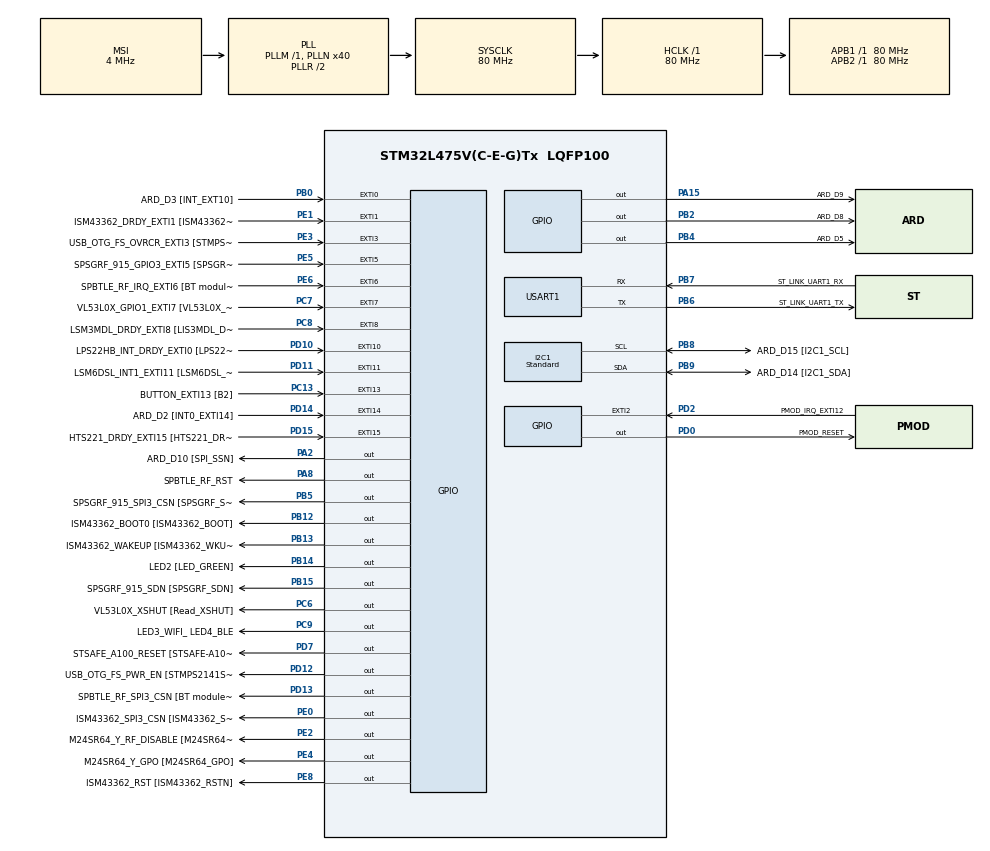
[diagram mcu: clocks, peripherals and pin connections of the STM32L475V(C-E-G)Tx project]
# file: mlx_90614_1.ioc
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I2C1.I2C_Speed_Mode=I2C_Standard
I2C1.Timing=0x10D19CE4
Mcu.Family=STM32L4
Mcu.Name=STM32L475V(C-E-G)Tx
Mcu.Package=LQFP100
NVIC.EXTI15_10_IRQn=true\:0\:0\:false\:false\:true\:true\:true\:true
NVIC.EXTI9_5_IRQn=true\:0\:0\:false\:false\:true\:true\:true\:true
NVIC.PriorityGroup=NVIC_PRIORITYGROUP_4
PA0.GPIO_Label=ARD_D1 [UART4_TX]
PA0.Signal=UART4_TX
PA1.GPIO_Label=ARD_D0 [UART4_RX]
PA1.Signal=UART4_RX
PA10.GPIO_Label=USB_OTG_FS_ID
PA10.Signal=USB_OTG_FS_ID
PA11.GPIO_Label=USB_OTG_FS_DM
PA11.Signal=USB_OTG_FS_DM
PA12.GPIO_Label=USB_OTG_FS_DP
PA12.Signal=USB_OTG_FS_DP
PA13\ (JTMS-SWDIO).GPIO_Label=SYS_JTMS_SWDIO
PA13\ (JTMS-SWDIO).Signal=SYS_JTMS-SWDIO
PA14\ (JTCK-SWCLK).GPIO_Label=SYS_JTCK_SWCLK
PA14\ (JTCK-SWCLK).Signal=SYS_JTCK-SWCLK
PA15\ (JTDI).GPIO_Label=ARD_D9
PA15\ (JTDI).Signal=GPIO_Output
PA2.GPIO_Label=ARD_D10 [SPI_SSN]
PA2.Signal=GPIO_Output
PA3.GPIO_Label=ARD_D4
PA3.Signal=S_TIM2_CH4
PA4.GPIO_Label=ARD_D7
PA4.Signal=ADCx_IN9
PA5.GPIO_Label=ARD_D13 [SPI1_SCK]
PA5.Signal=SPI1_SCK
PA6.GPIO_Label=ARD_D12 [SPI1_MISO]
PA6.Signal=SPI1_MISO
PA7.GPIO_Label=ARD_D11 [SPI1_MOSI]
PA7.Signal=SPI1_MOSI
PA8.GPIO_Label=SPBTLE_RF_RST
PA8.Signal=GPIO_Output
PA9.GPIO_Label=USB_OTG_FS_VBUS [STMPS2141STR_OUT]
PA9.Signal=USB_OTG_FS_VBUS
PB0.GPIO_Label=ARD_D3 [INT_EXT10]
PB0.Signal=GPXTI0
PB1.GPIO_Label=ARD_D6 [ADC1_IN6]
PB1.Signal=ADCx_IN16
PB10.GPIO_Label=INTERNAL_I2C2_SCL [VL53L0X_SCL]
PB10.Signal=I2C2_SCL
PB11.GPIO_Label=INTERNAL_I2C2_SDA [VL53L0X_SDA]
PB11.Signal=I2C2_SDA
PB12.GPIO_Label=ISM43362_BOOT0 [ISM43362_BOOT]
PB12.Signal=GPIO_Output
PB13.GPIO_Label=ISM43362_WAKEUP [ISM43362_WKUP]
PB13.Signal=GPIO_Output
PB14.GPIO_Label=LED2 [LED_GREEN]
PB14.Signal=GPIO_Output
PB15.GPIO_Label=SPSGRF_915_SDN [SPSGRF_SDN]
PB15.Signal=GPIO_Output
PB2.GPIO_Label=ARD_D8
PB2.Signal=GPIO_Output
PB3\ (JTDO-TRACESWO).GPIO_Label=SYS_JTD0_SWO
PB3\ (JTDO-TRACESWO).Signal=SYS_JTDO-SWO
PB4\ (NJTRST).GPIO_Label=ARD_D5
PB4\ (NJTRST).Signal=GPIO_Output
PB5.GPIO_Label=SPSGRF_915_SPI3_CSN [SPSGRF_SPI_CS]
PB5.PinState=GPIO_PIN_SET
PB5.Signal=GPIO_Output
PB6.GPIO_Label=ST_LINK_UART1_TX
PB6.Mode=Asynchronous
PB6.Signal=USART1_TX
PB7.GPIO_Label=ST_LINK_UART1_RX
PB7.Mode=Asynchronous
PB7.Signal=USART1_RX
PB8.GPIO_Label=ARD_D15 [I2C1_SCL]
PB8.Mode=I2C
PB8.Signal=I2C1_SCL
PB9.GPIO_Label=ARD_D14 [I2C1_SDA]
PB9.Mode=I2C
PB9.Signal=I2C1_SDA
PC0.GPIO_Label=ARD_A5 [ADC]
PC0.Signal=ADCx_IN1
PC1.GPIO_Label=ARD_A4 [ADC]
PC1.Signal=ADCx_IN2
PC10.GPIO_Label=INTERNAL_SPI3_SCK [BT module_SPI_SCLK] [ISM43362_SCK]
PC10.Signal=SPI3_SCK
PC11.GPIO_Label=INTERNAL_SPI3_MISO [BT module_SPI_MISO] [ISM43362_MISO]
PC11.Signal=SPI3_MISO
PC12.GPIO_Label=INTERNAL_SPI3_MOSI [BT module_SPI_MOSI] [ISM43362_MOSI]
PC12.Signal=SPI3_MOSI
PC13.GPIO_Label=BUTTON_EXTI13 [B2]
PC13.GPIO_ModeDefaultEXTI=GPIO_MODE_IT_FALLING
PC13.Signal=GPXTI13
PC14-OSC32_IN\ (PC14).Signal=RCC_OSC32_IN
PC15-OSC32_OUT\ (PC15).Signal=RCC_OSC32_OUT
PC2.GPIO_Label=ARD_A3 [ADC]
PC2.Signal=ADCx_IN3
PC3.GPIO_Label=ARD_A2 [ADC]
PC3.Signal=ADCx_IN4
PC4.GPIO_Label=ARD_A1 [ADC]
PC4.Signal=ADCx_IN13
PC5.GPIO_Label=ARD_A0 [ADC]
PC5.Signal=ADCx_IN14
PC6.GPIO_Label=VL53L0X_XSHUT [Read_XSHUT]
PC6.Signal=GPIO_Output
PC7.GPIO_Label=VL53L0X_GPIO1_EXTI7 [VL53L0X_GPIO1]
PC7.Signal=GPXTI7
PC8.GPIO_Label=LSM3MDL_DRDY_EXTI8 [LIS3MDL_DRDY]
PC8.Signal=GPXTI8
PC9.GPIO_Label=LED3_WIFI_ LED4_BLE
PC9.Signal=GPIO_Output
PD0.GPIO_Label=PMOD_RESET
PD0.Signal=GPIO_Output
PD1.GPIO_Label=PMOD_SPI2_SCK
PD1.Signal=SPI2_SCK
PD10.GPIO_Label=LPS22HB_INT_DRDY_EXTI0 [LPS22HB_INT_DRDY] 
PD10.Signal=GPXTI10
PD11.GPIO_Label=LSM6DSL_INT1_EXTI11 [LSM6DSL_INT1]
PD11.Signal=GPXTI11
PD12.GPIO_Label=USB_OTG_FS_PWR_EN [STMPS2141STR_EN]
PD12.Signal=GPIO_Output
PD13.GPIO_Label=SPBTLE_RF_SPI3_CSN [BT module_SPI_CS]
PD13.PinState=GPIO_PIN_SET
PD13.Signal=GPIO_Output
PD14.GPIO_Label=ARD_D2 [INT0_EXTI14]
PD14.Signal=GPXTI14
PD15.GPIO_Label=HTS221_DRDY_EXTI15 [HTS221_DRDY]
PD15.Signal=GPXTI15
PD2.GPIO_Label=PMOD_IRQ_EXTI12
PD2.Signal=GPXTI2
PD3.GPIO_Label=PMOD_UART2_CTS
PD3.Signal=USART2_CTS
PD4.GPIO_Label=PMOD_UART2_RTS
PD4.Signal=USART2_RTS
PD5.GPIO_Label=PMOD_UART2_TX
PD5.Signal=USART2_TX
PD6.GPIO_Label=PMOD_UART2_RX
PD6.Signal=USART2_RX
PD7.GPIO_Label=STSAFE_A100_RESET [STSAFE-A100_RESET]
PD7.Signal=GPIO_Output
PD8.GPIO_Label=INTERNAL_UART3_TX [ISM43362_RX]
PD8.Signal=USART3_TX
PD9.GPIO_Label=INTERNAL_UART3_RX [ISM43362_TX]
PD9.Signal=USART3_RX
PE0.GPIO_Label=ISM43362_SPI3_CSN [ISM43362_SSN]
PE0.PinState=GPIO_PIN_SET
PE0.Signal=GPIO_Output
PE1.GPIO_Label=ISM43362_DRDY_EXTI1 [ISM43362_DATARDY]
PE1.Signal=GPXTI1
PE10.GPIO_Label=QUADSPI_CLK [MX25R6435F_SCLK]
PE10.Signal=QUADSPI_CLK
PE11.GPIO_Label=QUADSPI_NCS [MX25R6435F_SCLK]
PE11.Signal=QUADSPI_NCS
PE12.GPIO_Label=OQUADSPI_BK1_IO0 [MX25R6435F_IO0]
PE12.Signal=QUADSPI_BK1_IO0
PE13.GPIO_Label=QUADSPI_BK1_IO1 [MX25R6435F_IO1]
PE13.Signal=QUADSPI_BK1_IO1
PE14.GPIO_Label=QUAD_SPI_BK1_IO2 [MX25R6435F_IO2]
PE14.Signal=QUADSPI_BK1_IO2
PE15.GPIO_Label=QUAD_SPI_BK1_IO3 [MX25R6435F_IO3]
PE15.Signal=QUADSPI_BK1_IO3
PE2.GPIO_Label=M24SR64_Y_RF_DISABLE [M24SR64_RFDIS]
PE2.Signal=GPIO_Output
PE3.GPIO_Label=USB_OTG_FS_OVRCR_EXTI3 [STMPS2141STR_FAULT]
PE3.Signal=GPXTI3
PE4.GPIO_Label=M24SR64_Y_GPO [M24SR64_GPO]
PE4.Signal=GPIO_Output
PE5.GPIO_Label=SPSGRF_915_GPIO3_EXTI5 [SPSGRF_GPIO_3]
PE5.Signal=GPXTI5
PE6.GPIO_Label=SPBTLE_RF_IRQ_EXTI6 [BT module_SPI_IRQ]
PE6.Signal=GPXTI6
PE7.GPIO_Label=DFSDM1_DATIN2 [MP34DT01_DOUT]
PE7.Signal=S_DATAIN2DFSDM1
PE8.GPIO_Label=ISM43362_RST [ISM43362_RSTN]
PE8.Signal=GPIO_Output
PE9.GPIO_Label=DFSDM1_CKOUT [MP34DT01_CLK]
PE9.Signal=S_CKOUTDFSDM1
ProjectManager.HeapSize=0x200
ProjectManager.StackSize=0x400
ProjectManager.TargetToolchain=STM32CubeIDE
RCC.ADCFreq_Value=48000000
RCC.AHBFreq_Value=80000000
RCC.APB1Freq_Value=80000000
RCC.APB1TimFreq_Value=80000000
RCC.APB2Freq_Value=80000000
RCC.APB2TimFreq_Value=80000000
RCC.CortexFreq_Value=80000000
RCC.HCLKFreq_Value=80000000
RCC.HSE_VALUE=8000000
RCC.HSI_VALUE=16000000
RCC.LSE_VALUE=32768
RCC.MSI_VALUE=4000000
RCC.PLLN=40
RCC.PLLSAI1N=24
RCC.SYSCLKFreq_VALUE=80000000
RCC.SYSCLKSource=RCC_SYSCLKSOURCE_PLLCLK
RCC.USBFreq_Value=48000000
RCC.VCOOutputFreq_Value=160000000
SH.ADCx_IN1.0=ADC1_IN1
SH.ADCx_IN13.0=ADC1_IN13
SH.ADCx_IN14.0=ADC1_IN14
SH.ADCx_IN16.0=ADC1_IN16
SH.ADCx_IN2.0=ADC1_IN2
SH.ADCx_IN3.0=ADC1_IN3
SH.ADCx_IN4.0=ADC1_IN4
SH.ADCx_IN9.0=ADC1_IN9
SH.S_CKOUTDFSDM1.0=DFSDM1_CKOUT
SH.S_DATAIN2DFSDM1.0=DFSDM1_DATIN2
SH.S_TIM2_CH4.0=TIM2_CH4
USART1.VirtualMode-Asynchronous=VM_ASYNC
board=B-L475E-IOT01A1

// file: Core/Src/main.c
/* USER CODE BEGIN Header */
/**
  ******************************************************************************
  * @file           : main.c
  * @brief          : Main program body
  ******************************************************************************
  * @attention
  *
  * Copyright (c) 2024 STMicroelectronics.
  * All rights reserved.
  *
  * This software is licensed under terms that can be found in the LICENSE file
  * in the root directory of this software component.
  * If no LICENSE file comes with this software, it is provided AS-IS.
  *
  ******************************************************************************
  */
/* USER CODE END Header */
#include "main.h"

/* USER CODE BEGIN Includes */
#include "stdio.h"
#include "mlx90614.h"
#include <math.h>
#include <string.h>
#include <NanoEdgeAI.h>
#include <stdio.h>

/* USER CODE END Includes */
#define LEARNING_ITERATIONS 20

I2C_HandleTypeDef hi2c1;

UART_HandleTypeDef huart1;

/* USER CODE BEGIN PV */

float t_obj =0;
char buffer[50];
float temp_value = 0;
float input_user_buffer[DATA_INPUT_USER];
uint8_t similarity = 0;
MLX90614 sensor;
/* USER CODE END PV */

void SystemClock_Config(void);
static void MX_GPIO_Init(void);
static void MX_I2C1_Init(void);
static void MX_USART1_UART_Init(void);
/* USER CODE BEGIN PFP */
#define PUTCHAR_PROTOTYPE int __io_putchar(int ch)
/* USER CODE END PFP */

/* USER CODE BEGIN 0 */
void fill_buffer(float input_buffer[])
{

    for (uint16_t i = 0; i < DATA_INPUT_USER; i++)
    {
        MLX90614_readObjTemperature(&sensor, &t_obj, MLX90614_OBJ1);
        input_buffer[i] = t_obj;

        HAL_Delay(1000);  // Delay for 1 second between readings
    }
}

/* USER CODE END 0 */

int main(void)
{

  /* MCU Configuration--------------------------------------------------------*/

  /* Reset of all peripherals, Initializes the Flash interface and the Systick. */
  HAL_Init();

  /* Configure the system clock */
  SystemClock_Config();

  /* Initialize all configured peripherals */
  MX_GPIO_Init();
  MX_I2C1_Init();
  MX_USART1_UART_Init();
  HAL_UART_Transmit(&huart1, (uint8_t *)"=====> Temp Sensor initialized \r\n", strlen("=====> Temp Sensorinitialized \r\n"), 1000);
  /* USER CODE BEGIN 2 */
  MLX90614 sensor;
   sensor.address = 0x5A;  // Default I2C address
   sensor.interface = &hi2c1;
   sensor.power_gpio = GPIOC;
   sensor.power_gpio_pin = GPIO_PIN_6;

   if(MLX90614_init(&sensor) != HAL_OK) {
       printf("Can't connect to MLX90614 sensor!\r\n");
       Error_Handler();
   }

   // Initialize NanoEdge AI anomaly detection library
   enum neai_state error_code;
   error_code = neai_anomalydetection_init();
   if (error_code != NEAI_OK) {
       printf("NanoEdge AI initialization failed!\r\n");
       Error_Handler();
   }

   // Learning phase for normal behavior
   for (uint16_t iteration = 0; iteration < LEARNING_ITERATIONS; iteration++) {
       fill_buffer(input_user_buffer);
       neai_anomalydetection_learn(input_user_buffer);
       HAL_Delay(1000);  // Short delay to simulate variability in learning
   }

   /* USER CODE END 2 */

   /* Infinite loop */
   while (1)
   {
       fill_buffer(input_user_buffer);  // Get new temperature data

       // Detect anomaly
       neai_anomalydetection_detect(input_user_buffer, &similarity);
       char message[50];
       sprintf(message, "Similarity: %d%%\r\n", similarity);
       HAL_UART_Transmit(&huart1, (uint8_t *)message, strlen(message), 1000);

       // Check similarity threshold to detect anomaly
       if (similarity >= 80) {  // Adjust threshold as necessary
           printf("Normal behavior\n");
       } else {
           printf("Anomaly detected\n");
       }

       HAL_Delay(1000);  // Delay before next reading
   }
  /* USER CODE END 3 */
}

void SystemClock_Config(void)
{
  RCC_OscInitTypeDef RCC_OscInitStruct = {0};
  RCC_ClkInitTypeDef RCC_ClkInitStruct = {0};

  /** Configure the main internal regulator output voltage
  */
  if (HAL_PWREx_ControlVoltageScaling(PWR_REGULATOR_VOLTAGE_SCALE1) != HAL_OK)
  {
    Error_Handler();
  }

  /** Initializes the RCC Oscillators according to the specified parameters
  * in the RCC_OscInitTypeDef structure.
  */
  RCC_OscInitStruct.OscillatorType = RCC_OSCILLATORTYPE_MSI;
  RCC_OscInitStruct.MSIState = RCC_MSI_ON;
  RCC_OscInitStruct.MSICalibrationValue = 0;
  RCC_OscInitStruct.MSIClockRange = RCC_MSIRANGE_6;
  RCC_OscInitStruct.PLL.PLLState = RCC_PLL_ON;
  RCC_OscInitStruct.PLL.PLLSource = RCC_PLLSOURCE_MSI;
  RCC_OscInitStruct.PLL.PLLM = 1;
  RCC_OscInitStruct.PLL.PLLN = 40;
  RCC_OscInitStruct.PLL.PLLP = RCC_PLLP_DIV7;
  RCC_OscInitStruct.PLL.PLLQ = RCC_PLLQ_DIV2;
  RCC_OscInitStruct.PLL.PLLR = RCC_PLLR_DIV2;
  if (HAL_RCC_OscConfig(&RCC_OscInitStruct) != HAL_OK)
  {
    Error_Handler();
  }

  /** Initializes the CPU, AHB and APB buses clocks
  */
  RCC_ClkInitStruct.ClockType = RCC_CLOCKTYPE_HCLK|RCC_CLOCKTYPE_SYSCLK
                              |RCC_CLOCKTYPE_PCLK1|RCC_CLOCKTYPE_PCLK2;
  RCC_ClkInitStruct.SYSCLKSource = RCC_SYSCLKSOURCE_PLLCLK;
  RCC_ClkInitStruct.AHBCLKDivider = RCC_SYSCLK_DIV1;
  RCC_ClkInitStruct.APB1CLKDivider = RCC_HCLK_DIV1;
  RCC_ClkInitStruct.APB2CLKDivider = RCC_HCLK_DIV1;

  if (HAL_RCC_ClockConfig(&RCC_ClkInitStruct, FLASH_LATENCY_4) != HAL_OK)
  {
    Error_Handler();
  }
}

static void MX_I2C1_Init(void)
{

  hi2c1.Instance = I2C1;
  hi2c1.Init.Timing = 0x10D19CE4;
  hi2c1.Init.OwnAddress1 = 0;
  hi2c1.Init.AddressingMode = I2C_ADDRESSINGMODE_7BIT;
  hi2c1.Init.DualAddressMode = I2C_DUALADDRESS_DISABLE;
  hi2c1.Init.OwnAddress2 = 0;
  hi2c1.Init.OwnAddress2Masks = I2C_OA2_NOMASK;
  hi2c1.Init.GeneralCallMode = I2C_GENERALCALL_DISABLE;
  hi2c1.Init.NoStretchMode = I2C_NOSTRETCH_DISABLE;
  if (HAL_I2C_Init(&hi2c1) != HAL_OK)
  {
    Error_Handler();
  }

  /** Configure Analogue filter
  */
  if (HAL_I2CEx_ConfigAnalogFilter(&hi2c1, I2C_ANALOGFILTER_ENABLE) != HAL_OK)
  {
    Error_Handler();
  }

  /** Configure Digital filter
  */
  if (HAL_I2CEx_ConfigDigitalFilter(&hi2c1, 0) != HAL_OK)
  {
    Error_Handler();
  }

}

static void MX_USART1_UART_Init(void)
{

  huart1.Instance = USART1;
  huart1.Init.BaudRate = 115200;
  huart1.Init.WordLength = UART_WORDLENGTH_8B;
  huart1.Init.StopBits = UART_STOPBITS_1;
  huart1.Init.Parity = UART_PARITY_NONE;
  huart1.Init.Mode = UART_MODE_TX_RX;
  huart1.Init.HwFlowCtl = UART_HWCONTROL_NONE;
  huart1.Init.OverSampling = UART_OVERSAMPLING_16;
  huart1.Init.OneBitSampling = UART_ONE_BIT_SAMPLE_DISABLE;
  huart1.AdvancedInit.AdvFeatureInit = UART_ADVFEATURE_NO_INIT;
  if (HAL_UART_Init(&huart1) != HAL_OK)
  {
    Error_Handler();
  }

}

static void MX_GPIO_Init(void)
{
  GPIO_InitTypeDef GPIO_InitStruct = {0};

  /* GPIO Ports Clock Enable */
  __HAL_RCC_GPIOE_CLK_ENABLE();
  __HAL_RCC_GPIOC_CLK_ENABLE();
  __HAL_RCC_GPIOA_CLK_ENABLE();
  __HAL_RCC_GPIOB_CLK_ENABLE();
  __HAL_RCC_GPIOD_CLK_ENABLE();

  /*Configure GPIO pin Output Level */
  HAL_GPIO_WritePin(GPIOE, M24SR64_Y_RF_DISABLE_Pin|M24SR64_Y_GPO_Pin|ISM43362_RST_Pin, GPIO_PIN_RESET);

  /*Configure GPIO pin Output Level */
  HAL_GPIO_WritePin(GPIOA, ARD_D10_Pin|SPBTLE_RF_RST_Pin|ARD_D9_Pin, GPIO_PIN_RESET);

  /*Configure GPIO pin Output Level */
  HAL_GPIO_WritePin(GPIOB, ARD_D8_Pin|ISM43362_BOOT0_Pin|ISM43362_WAKEUP_Pin|LED2_Pin
                          |SPSGRF_915_SDN_Pin|ARD_D5_Pin, GPIO_PIN_RESET);

  /*Configure GPIO pin Output Level */
  HAL_GPIO_WritePin(GPIOD, USB_OTG_FS_PWR_EN_Pin|PMOD_RESET_Pin|STSAFE_A100_RESET_Pin, GPIO_PIN_RESET);

  /*Configure GPIO pin Output Level */
  HAL_GPIO_WritePin(SPBTLE_RF_SPI3_CSN_GPIO_Port, SPBTLE_RF_SPI3_CSN_Pin, GPIO_PIN_SET);

  /*Configure GPIO pin Output Level */
  HAL_GPIO_WritePin(GPIOC, VL53L0X_XSHUT_Pin|LED3_WIFI__LED4_BLE_Pin, GPIO_PIN_RESET);

  /*Configure GPIO pin Output Level */
  HAL_GPIO_WritePin(SPSGRF_915_SPI3_CSN_GPIO_Port, SPSGRF_915_SPI3_CSN_Pin, GPIO_PIN_SET);

  /*Configure GPIO pin Output Level */
  HAL_GPIO_WritePin(ISM43362_SPI3_CSN_GPIO_Port, ISM43362_SPI3_CSN_Pin, GPIO_PIN_SET);

  /*Configure GPIO pins : M24SR64_Y_RF_DISABLE_Pin M24SR64_Y_GPO_Pin ISM43362_RST_Pin ISM43362_SPI3_CSN_Pin */
  GPIO_InitStruct.Pin = M24SR64_Y_RF_DISABLE_Pin|M24SR64_Y_GPO_Pin|ISM43362_RST_Pin|ISM43362_SPI3_CSN_Pin;
  GPIO_InitStruct.Mode = GPIO_MODE_OUTPUT_PP;
  GPIO_InitStruct.Pull = GPIO_NOPULL;
  GPIO_InitStruct.Speed = GPIO_SPEED_FREQ_LOW;
  HAL_GPIO_Init(GPIOE, &GPIO_InitStruct);

  /*Configure GPIO pins : USB_OTG_FS_OVRCR_EXTI3_Pin SPSGRF_915_GPIO3_EXTI5_Pin SPBTLE_RF_IRQ_EXTI6_Pin ISM43362_DRDY_EXTI1_Pin */
  GPIO_InitStruct.Pin = USB_OTG_FS_OVRCR_EXTI3_Pin|SPSGRF_915_GPIO3_EXTI5_Pin|SPBTLE_RF_IRQ_EXTI6_Pin|ISM43362_DRDY_EXTI1_Pin;
  GPIO_InitStruct.Mode = GPIO_MODE_IT_RISING;
  GPIO_InitStruct.Pull = GPIO_NOPULL;
  HAL_GPIO_Init(GPIOE, &GPIO_InitStruct);

  /*Configure GPIO pin : BUTTON_EXTI13_Pin */
  GPIO_InitStruct.Pin = BUTTON_EXTI13_Pin;
  GPIO_InitStruct.Mode = GPIO_MODE_IT_FALLING;
  GPIO_InitStruct.Pull = GPIO_NOPULL;
  HAL_GPIO_Init(BUTTON_EXTI13_GPIO_Port, &GPIO_InitStruct);

  /*Configure GPIO pins : ARD_A5_Pin ARD_A4_Pin ARD_A3_Pin ARD_A2_Pin
                           ARD_A1_Pin ARD_A0_Pin */
  GPIO_InitStruct.Pin = ARD_A5_Pin|ARD_A4_Pin|ARD_A3_Pin|ARD_A2_Pin
                          |ARD_A1_Pin|ARD_A0_Pin;
  GPIO_InitStruct.Mode = GPIO_MODE_ANALOG_ADC_CONTROL;
  GPIO_InitStruct.Pull = GPIO_NOPULL;
  HAL_GPIO_Init(GPIOC, &GPIO_InitStruct);

  /*Configure GPIO pins : ARD_D1_Pin ARD_D0_Pin */
  GPIO_InitStruct.Pin = ARD_D1_Pin|ARD_D0_Pin;
  GPIO_InitStruct.Mode = GPIO_MODE_AF_PP;
  GPIO_InitStruct.Pull = GPIO_NOPULL;
  GPIO_InitStruct.Speed = GPIO_SPEED_FREQ_VERY_HIGH;
  GPIO_InitStruct.Alternate = GPIO_AF8_UART4;
  HAL_GPIO_Init(GPIOA, &GPIO_InitStruct);

  /*Configure GPIO pins : ARD_D10_Pin SPBTLE_RF_RST_Pin ARD_D9_Pin */
  GPIO_InitStruct.Pin = ARD_D10_Pin|SPBTLE_RF_RST_Pin|ARD_D9_Pin;
  GPIO_InitStruct.Mode = GPIO_MODE_OUTPUT_PP;
  GPIO_InitStruct.Pull = GPIO_NOPULL;
  GPIO_InitStruct.Speed = GPIO_SPEED_FREQ_LOW;
  HAL_GPIO_Init(GPIOA, &GPIO_InitStruct);

  /*Configure GPIO pin : ARD_D4_Pin */
  GPIO_InitStruct.Pin = ARD_D4_Pin;
  GPIO_InitStruct.Mode = GPIO_MODE_AF_PP;
  GPIO_InitStruct.Pull = GPIO_NOPULL;
  GPIO_InitStruct.Speed = GPIO_SPEED_FREQ_LOW;
  GPIO_InitStruct.Alternate = GPIO_AF1_TIM2;
  HAL_GPIO_Init(ARD_D4_GPIO_Port, &GPIO_InitStruct);

  /*Configure GPIO pin : ARD_D7_Pin */
  GPIO_InitStruct.Pin = ARD_D7_Pin;
  GPIO_InitStruct.Mode = GPIO_MODE_ANALOG_ADC_CONTROL;
  GPIO_InitStruct.Pull = GPIO_NOPULL;
  HAL_GPIO_Init(ARD_D7_GPIO_Port, &GPIO_InitStruct);

  /*Configure GPIO pins : ARD_D13_Pin ARD_D12_Pin ARD_D11_Pin */
  GPIO_InitStruct.Pin = ARD_D13_Pin|ARD_D12_Pin|ARD_D11_Pin;
  GPIO_InitStruct.Mode = GPIO_MODE_AF_PP;
  GPIO_InitStruct.Pull = GPIO_NOPULL;
  GPIO_InitStruct.Speed = GPIO_SPEED_FREQ_VERY_HIGH;
  GPIO_InitStruct.Alternate = GPIO_AF5_SPI1;
  HAL_GPIO_Init(GPIOA, &GPIO_InitStruct);

  /*Configure GPIO pin : ARD_D3_Pin */
  GPIO_InitStruct.Pin = ARD_D3_Pin;
  GPIO_InitStruct.Mode = GPIO_MODE_IT_RISING;
  GPIO_InitStruct.Pull = GPIO_NOPULL;
  HAL_GPIO_Init(ARD_D3_GPIO_Port, &GPIO_InitStruct);

  /*Configure GPIO pin : ARD_D6_Pin */
  GPIO_InitStruct.Pin = ARD_D6_Pin;
  GPIO_InitStruct.Mode = GPIO_MODE_ANALOG_ADC_CONTROL;
  GPIO_InitStruct.Pull = GPIO_NOPULL;
  HAL_GPIO_Init(ARD_D6_GPIO_Port, &GPIO_InitStruct);

  /*Configure GPIO pins : ARD_D8_Pin ISM43362_BOOT0_Pin ISM43362_WAKEUP_Pin LED2_Pin
                           SPSGRF_915_SDN_Pin ARD_D5_Pin SPSGRF_915_SPI3_CSN_Pin */
  GPIO_InitStruct.Pin = ARD_D8_Pin|ISM43362_BOOT0_Pin|ISM43362_WAKEUP_Pin|LED2_Pin
                          |SPSGRF_915_SDN_Pin|ARD_D5_Pin|SPSGRF_915_SPI3_CSN_Pin;
  GPIO_InitStruct.Mode = GPIO_MODE_OUTPUT_PP;
  GPIO_InitStruct.Pull = GPIO_NOPULL;
  GPIO_InitStruct.Speed = GPIO_SPEED_FREQ_LOW;
  HAL_GPIO_Init(GPIOB, &GPIO_InitStruct);

  /*Configure GPIO pins : DFSDM1_DATIN2_Pin DFSDM1_CKOUT_Pin */
  GPIO_InitStruct.Pin = DFSDM1_DATIN2_Pin|DFSDM1_CKOUT_Pin;
  GPIO_InitStruct.Mode = GPIO_MODE_AF_PP;
  GPIO_InitStruct.Pull = GPIO_NOPULL;
  GPIO_InitStruct.Speed = GPIO_SPEED_FREQ_LOW;
  GPIO_InitStruct.Alternate = GPIO_AF6_DFSDM1;
  HAL_GPIO_Init(GPIOE, &GPIO_InitStruct);

  /*Configure GPIO pins : QUADSPI_CLK_Pin QUADSPI_NCS_Pin OQUADSPI_BK1_IO0_Pin QUADSPI_BK1_IO1_Pin
                           QUAD_SPI_BK1_IO2_Pin QUAD_SPI_BK1_IO3_Pin */
  GPIO_InitStruct.Pin = QUADSPI_CLK_Pin|QUADSPI_NCS_Pin|OQUADSPI_BK1_IO0_Pin|QUADSPI_BK1_IO1_Pin
                          |QUAD_SPI_BK1_IO2_Pin|QUAD_SPI_BK1_IO3_Pin;
  GPIO_InitStruct.Mode = GPIO_MODE_AF_PP;
  GPIO_InitStruct.Pull = GPIO_NOPULL;
  GPIO_InitStruct.Speed = GPIO_SPEED_FREQ_VERY_HIGH;
  GPIO_InitStruct.Alternate = GPIO_AF10_QUADSPI;
  HAL_GPIO_Init(GPIOE, &GPIO_InitStruct);

  /*Configure GPIO pins : INTERNAL_I2C2_SCL_Pin INTERNAL_I2C2_SDA_Pin */
  GPIO_InitStruct.Pin = INTERNAL_I2C2_SCL_Pin|INTERNAL_I2C2_SDA_Pin;
  GPIO_InitStruct.Mode = GPIO_MODE_AF_OD;
  GPIO_InitStruct.Pull = GPIO_NOPULL;
  GPIO_InitStruct.Speed = GPIO_SPEED_FREQ_VERY_HIGH;
  GPIO_InitStruct.Alternate = GPIO_AF4_I2C2;
  HAL_GPIO_Init(GPIOB, &GPIO_InitStruct);

  /*Configure GPIO pins : INTERNAL_UART3_TX_Pin INTERNAL_UART3_RX_Pin */
  GPIO_InitStruct.Pin = INTERNAL_UART3_TX_Pin|INTERNAL_UART3_RX_Pin;
  GPIO_InitStruct.Mode = GPIO_MODE_AF_PP;
  GPIO_InitStruct.Pull = GPIO_NOPULL;
  GPIO_InitStruct.Speed = GPIO_SPEED_FREQ_VERY_HIGH;
  GPIO_InitStruct.Alternate = GPIO_AF7_USART3;
  HAL_GPIO_Init(GPIOD, &GPIO_InitStruct);

  /*Configure GPIO pins : LPS22HB_INT_DRDY_EXTI0_Pin LSM6DSL_INT1_EXTI11_Pin ARD_D2_Pin HTS221_DRDY_EXTI15_Pin
                           PMOD_IRQ_EXTI12_Pin */
  GPIO_InitStruct.Pin = LPS22HB_INT_DRDY_EXTI0_Pin|LSM6DSL_INT1_EXTI11_Pin|ARD_D2_Pin|HTS221_DRDY_EXTI15_Pin
                          |PMOD_IRQ_EXTI12_Pin;
  GPIO_InitStruct.Mode = GPIO_MODE_IT_RISING;
  GPIO_InitStruct.Pull = GPIO_NOPULL;
  HAL_GPIO_Init(GPIOD, &GPIO_InitStruct);

  /*Configure GPIO pins : USB_OTG_FS_PWR_EN_Pin SPBTLE_RF_SPI3_CSN_Pin PMOD_RESET_Pin STSAFE_A100_RESET_Pin */
  GPIO_InitStruct.Pin = USB_OTG_FS_PWR_EN_Pin|SPBTLE_RF_SPI3_CSN_Pin|PMOD_RESET_Pin|STSAFE_A100_RESET_Pin;
  GPIO_InitStruct.Mode = GPIO_MODE_OUTPUT_PP;
  GPIO_InitStruct.Pull = GPIO_NOPULL;
  GPIO_InitStruct.Speed = GPIO_SPEED_FREQ_LOW;
  HAL_GPIO_Init(GPIOD, &GPIO_InitStruct);

  /*Configure GPIO pins : VL53L0X_XSHUT_Pin LED3_WIFI__LED4_BLE_Pin */
  GPIO_InitStruct.Pin = VL53L0X_XSHUT_Pin|LED3_WIFI__LED4_BLE_Pin;
  GPIO_InitStruct.Mode = GPIO_MODE_OUTPUT_PP;
  GPIO_InitStruct.Pull = GPIO_NOPULL;
  GPIO_InitStruct.Speed = GPIO_SPEED_FREQ_LOW;
  HAL_GPIO_Init(GPIOC, &GPIO_InitStruct);

  /*Configure GPIO pins : VL53L0X_GPIO1_EXTI7_Pin LSM3MDL_DRDY_EXTI8_Pin */
  GPIO_InitStruct.Pin = VL53L0X_GPIO1_EXTI7_Pin|LSM3MDL_DRDY_EXTI8_Pin;
  GPIO_InitStruct.Mode = GPIO_MODE_IT_RISING;
  GPIO_InitStruct.Pull = GPIO_NOPULL;
  HAL_GPIO_Init(GPIOC, &GPIO_InitStruct);

  /*Configure GPIO pin : USB_OTG_FS_VBUS_Pin */
  GPIO_InitStruct.Pin = USB_OTG_FS_VBUS_Pin;
  GPIO_InitStruct.Mode = GPIO_MODE_INPUT;
  GPIO_InitStruct.Pull = GPIO_NOPULL;
  HAL_GPIO_Init(USB_OTG_FS_VBUS_GPIO_Port, &GPIO_InitStruct);

  /*Configure GPIO pins : USB_OTG_FS_ID_Pin USB_OTG_FS_DM_Pin USB_OTG_FS_DP_Pin */
  GPIO_InitStruct.Pin = USB_OTG_FS_ID_Pin|USB_OTG_FS_DM_Pin|USB_OTG_FS_DP_Pin;
  GPIO_InitStruct.Mode = GPIO_MODE_AF_PP;
  GPIO_InitStruct.Pull = GPIO_NOPULL;
  GPIO_InitStruct.Speed = GPIO_SPEED_FREQ_VERY_HIGH;
  GPIO_InitStruct.Alternate = GPIO_AF10_OTG_FS;
  HAL_GPIO_Init(GPIOA, &GPIO_InitStruct);

  /*Configure GPIO pins : INTERNAL_SPI3_SCK_Pin INTERNAL_SPI3_MISO_Pin INTERNAL_SPI3_MOSI_Pin */
  GPIO_InitStruct.Pin = INTERNAL_SPI3_SCK_Pin|INTERNAL_SPI3_MISO_Pin|INTERNAL_SPI3_MOSI_Pin;
  GPIO_InitStruct.Mode = GPIO_MODE_AF_PP;
  GPIO_InitStruct.Pull = GPIO_NOPULL;
  GPIO_InitStruct.Speed = GPIO_SPEED_FREQ_VERY_HIGH;
  GPIO_InitStruct.Alternate = GPIO_AF6_SPI3;
  HAL_GPIO_Init(GPIOC, &GPIO_InitStruct);

  /*Configure GPIO pin : PMOD_SPI2_SCK_Pin */
  GPIO_InitStruct.Pin = PMOD_SPI2_SCK_Pin;
  GPIO_InitStruct.Mode = GPIO_MODE_AF_PP;
  GPIO_InitStruct.Pull = GPIO_NOPULL;
  GPIO_InitStruct.Speed = GPIO_SPEED_FREQ_VERY_HIGH;
  GPIO_InitStruct.Alternate = GPIO_AF5_SPI2;
  HAL_GPIO_Init(PMOD_SPI2_SCK_GPIO_Port, &GPIO_InitStruct);

  /*Configure GPIO pins : PMOD_UART2_CTS_Pin PMOD_UART2_RTS_Pin PMOD_UART2_TX_Pin PMOD_UART2_RX_Pin */
  GPIO_InitStruct.Pin = PMOD_UART2_CTS_Pin|PMOD_UART2_RTS_Pin|PMOD_UART2_TX_Pin|PMOD_UART2_RX_Pin;
  GPIO_InitStruct.Mode = GPIO_MODE_AF_PP;
  GPIO_InitStruct.Pull = GPIO_NOPULL;
  GPIO_InitStruct.Speed = GPIO_SPEED_FREQ_VERY_HIGH;
  GPIO_InitStruct.Alternate = GPIO_AF7_USART2;
  HAL_GPIO_Init(GPIOD, &GPIO_InitStruct);

  /* EXTI interrupt init*/
  HAL_NVIC_SetPriority(EXTI9_5_IRQn, 0, 0);
  HAL_NVIC_EnableIRQ(EXTI9_5_IRQn);

  HAL_NVIC_SetPriority(EXTI15_10_IRQn, 0, 0);
  HAL_NVIC_EnableIRQ(EXTI15_10_IRQn);

}

void Error_Handler(void)
{
  __disable_irq();
  while (1)
  {
  }
}
